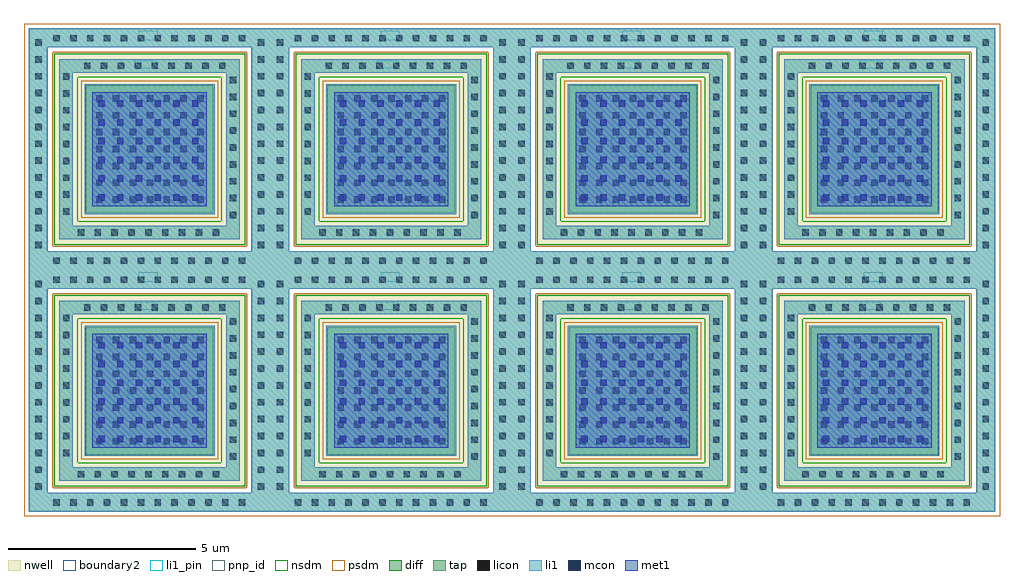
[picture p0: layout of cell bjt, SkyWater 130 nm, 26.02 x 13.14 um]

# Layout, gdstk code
import gdstk
lib = gdstk.Library(unit=1e-6, precision=1e-09)
def R(c, l, rs):  # rectangles x0, y0, x1, y1
    for r in rs: c.add(gdstk.rectangle(r[:2], r[2:], *l))
def A(c, l, x, y, w, h, nx, ny, dx, dy):  # array of equal rectangles
    R(c, l, [(x+i*dx, y+j*dy, x+i*dx+w, y+j*dy+h) for i in range(nx) for j in range(ny)])
def P(c, l, *ps):  # polygons
    for p in ps: c.add(gdstk.Polygon(p, *l))
nwell = (64, 20)
diff = (65, 20)
tap = (65, 44)
licon = (66, 44)
li1_pin = (67, 16)
li1 = (67, 20)
mcon = (67, 44)
met1 = (68, 20)
pnp_id = (82, 44)
nsdm = (93, 44)
psdm = (94, 20)
boundary2 = (236, 0)

sky130_fd_pr__rf_pnp_05v = lib.new_cell('sky130_fd_pr__rf_pnp_05v5_W3p40L3p40')
R(sky130_fd_pr__rf_pnp_05v, nwell, [(0.765,0.765,5.935,5.935)])
R(sky130_fd_pr__rf_pnp_05v, diff, [(1.65,1.65,5.05,5.05)])
P(sky130_fd_pr__rf_pnp_05v, tap, [(0.945,0.945),(5.755,0.945),(5.755,5.755),(5.395,5.755),(5.395,1.305),(1.305,1.305),(1.305,5.395),(5.395,5.395),(5.395,5.755),(0.945,5.755)],
  [(0.13,0.13),(6.57,0.13),(6.57,6.57),(6.065,6.57),(6.065,0.635),(0.635,0.635),(0.635,6.065),(6.065,6.065),(6.065,6.57),(0.13,6.57)])
A(sky130_fd_pr__rf_pnp_05v, licon, 0.78, 0.29, 0.17, 0.17, 12, 2, 0.45, 5.935)
A(sky130_fd_pr__rf_pnp_05v, licon, 0.3, 0.71, 0.17, 0.17, 1, 13, 0, 0.45)
A(sky130_fd_pr__rf_pnp_05v, licon, 6.235, 0.71, 0.17, 0.17, 1, 13, 0, 0.45)
A(sky130_fd_pr__rf_pnp_05v, licon, 1.43, 1.04, 0.17, 0.17, 9, 1, 0.45, 0)
A(sky130_fd_pr__rf_pnp_05v, licon, 5.49, 1.51, 0.17, 0.17, 1, 9, 0, 0.45)
A(sky130_fd_pr__rf_pnp_05v, licon, 1.04, 1.605, 0.17, 0.17, 1, 9, 0, 0.45)
A(sky130_fd_pr__rf_pnp_05v, licon, 1.92, 1.92, 0.17, 0.17, 7, 7, 0.45, 0.45)
A(sky130_fd_pr__rf_pnp_05v, licon, 1.6, 5.49, 0.17, 0.17, 9, 1, 0.45, 0)
R(sky130_fd_pr__rf_pnp_05v, li1_pin, [(2.77,3.13,4.01,3.65), (2.95,5.51,3.54,5.71), (3.065,6.26,3.57,6.505)])
A(sky130_fd_pr__rf_pnp_05v, li1, 0.58, 0.21, 0.33, 0.33, 12, 1, 0.45, 0)
A(sky130_fd_pr__rf_pnp_05v, li1, 0.675, 0.24, 0.27, 0.27, 11, 2, 0.5, 5.96)
A(sky130_fd_pr__rf_pnp_05v, li1, 6.16, 0.54, 0.33, 0.33, 1, 13, 0, 0.45)
A(sky130_fd_pr__rf_pnp_05v, li1, 0.22, 0.63, 0.33, 0.33, 1, 13, 0, 0.45)
A(sky130_fd_pr__rf_pnp_05v, li1, 1.35, 0.96, 0.33, 0.33, 9, 1, 0.45, 0)
A(sky130_fd_pr__rf_pnp_05v, li1, 1.14, 0.985, 0.27, 0.27, 9, 1, 0.5, 0)
A(sky130_fd_pr__rf_pnp_05v, li1, 5.41, 1.43, 0.33, 0.33, 1, 9, 0, 0.45)
A(sky130_fd_pr__rf_pnp_05v, li1, 0.96, 1.525, 0.33, 0.33, 1, 9, 0, 0.45)
A(sky130_fd_pr__rf_pnp_05v, li1, 1.84, 1.84, 0.33, 0.33, 7, 7, 0.45, 0.45)
A(sky130_fd_pr__rf_pnp_05v, li1, 1.93, 1.93, 0.27, 0.27, 6, 6, 0.5, 0.5)
A(sky130_fd_pr__rf_pnp_05v, li1, 1.52, 5.41, 0.33, 0.33, 9, 1, 0.45, 0)
A(sky130_fd_pr__rf_pnp_05v, li1, 1.155, 5.44, 0.27, 0.27, 9, 1, 0.5, 0)
A(sky130_fd_pr__rf_pnp_05v, li1, 0.7, 6.165, 0.33, 0.33, 12, 1, 0.45, 0)
R(sky130_fd_pr__rf_pnp_05v, li1, [(1.615,1.615,5.085,5.085), (1.65,1.65,5.05,5.05)])
P(sky130_fd_pr__rf_pnp_05v, li1, [(0.13,0.13),(6.57,0.13),(6.57,6.57),(6.075,6.57),(6.075,0.625),(0.625,0.625),(0.625,6.075),(6.075,6.075),(6.075,6.57),(0.13,6.57)],
  [(0.945,0.945),(5.755,0.945),(5.755,5.755),(5.395,5.755),(5.395,1.305),(1.305,1.305),(1.305,5.395),(5.395,5.395),(5.395,5.755),(0.945,5.755)])
A(sky130_fd_pr__rf_pnp_05v, mcon, 1.98, 1.98, 0.17, 0.17, 6, 6, 0.5, 0.5)
A(sky130_fd_pr__rf_pnp_05v, met1, 1.93, 1.93, 0.27, 0.27, 6, 6, 0.5, 0.5)
R(sky130_fd_pr__rf_pnp_05v, met1, [(1.825,1.825,4.875,4.875)])
R(sky130_fd_pr__rf_pnp_05v, pnp_id, [(0.135,0.135,6.565,6.565)])
P(sky130_fd_pr__rf_pnp_05v, nsdm, [(0.805,0.805),(5.895,0.805),(5.895,5.895),(5.265,5.895),(5.265,1.435),(1.435,1.435),(1.435,5.265),(5.265,5.265),(5.265,5.895),(0.805,5.895)])
R(sky130_fd_pr__rf_pnp_05v, psdm, [(1.52,1.52,5.18,5.18)])
P(sky130_fd_pr__rf_pnp_05v, psdm, [(0,0),(6.7,0),(6.7,6.7),(5.935,6.7),(5.935,0.765),(0.765,0.765),(0.765,5.935),(5.935,5.935),(5.935,6.7),(0,6.7)])
R(sky130_fd_pr__rf_pnp_05v, boundary2, [(0.13,0.13,6.57,6.57)])
sky130_fd_pr__rf_pnp_05v.add(gdstk.Label('Emitter', (3.39,3.39), layer=67, texttype=5))
sky130_fd_pr__rf_pnp_05v.add(gdstk.Label('Collector', (3.32,6.38), layer=67, texttype=5))
sky130_fd_pr__rf_pnp_05v.add(gdstk.Label('Base', (3.245,5.61), layer=67, texttype=5))

bjt = lib.new_cell('bjt')
r = gdstk.Reference(sky130_fd_pr__rf_pnp_05v, (0.03,0.06)); r.repetition = gdstk.Repetition(4, 2, v1=(6.44,0), v2=(0,6.44)); bjt.add(r)

lib.write_gds('bjt.gds')
